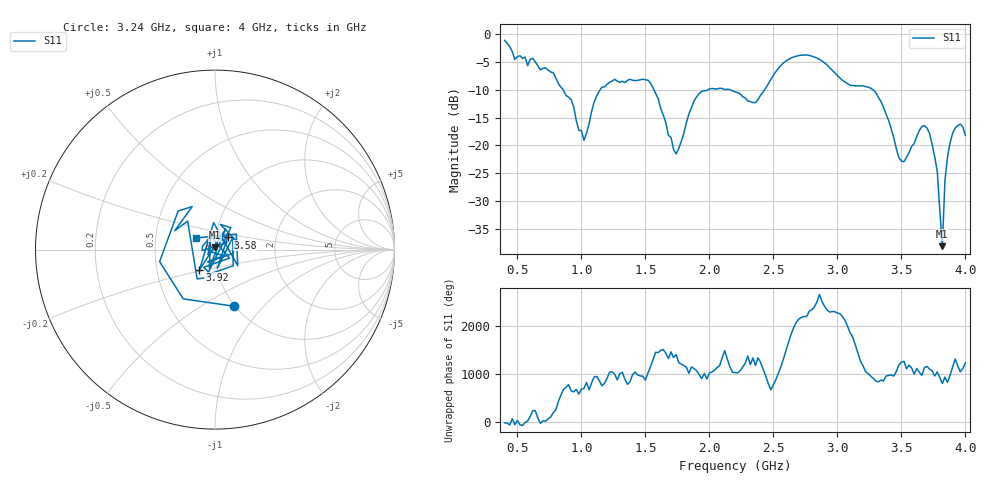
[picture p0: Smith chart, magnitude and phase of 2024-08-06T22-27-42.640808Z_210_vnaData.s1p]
!Created with skrf (http://scikit-rf.org).
# Hz S RI R 50.0
!freq ReS11 ImS11
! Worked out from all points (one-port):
!   181 points, 400 MHz to 4 GHz, reference 50 ohm
!   lowest |S11| = -38.1 dB at 3.82 GHz (marker M1), VSWR 1.03, Z = 50.1 + j1.23 ohm
!   |S11| at or under -10 dB: 857.4 MHz to 1.146 GHz (288.9 MHz wide, 28.8 % of centre); 1.567 GHz to 1.989 GHz (422.2 MHz wide, 23.7 % of centre); 3.279 GHz to end of sweep (the widest 3 of 4)
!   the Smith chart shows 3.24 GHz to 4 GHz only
!   S11 on the Smith chart (normalised r, x): 3.24 GHz: 0.99, -0.71; 3.58 GHz: 1.14, +0.16; 3.92 GHz: 0.82, -0.19; 4 GHz: 0.80, +0.11
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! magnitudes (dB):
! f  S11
! 400 MHz  -1.1
! 480 MHz  -4.5
! 860 MHz  -10.1
! 1.02 GHz  -19.1
! 1.14 GHz  -10.2
! 1.3 GHz  -8.7
! 1.52 GHz  -8.3
! 1.72 GHz  -20.7
! 1.76 GHz  -20.6
! 1.92 GHz  -10.7
! 2.2 GHz  -10.4
! 2.36 GHz  -12.3
! 2.66 GHz  -4.1
! 2.86 GHz  -4.5
! 3.1 GHz  -9.2
! 3.24 GHz  -9.5
! 3.36 GHz  -13.2
! 3.48 GHz  -22.2
! 3.56 GHz  -21.3
! 3.58 GHz  -20.2
! 3.66 GHz  -16.6
! 3.72 GHz  -17.8
! 3.78 GHz  -24.7
! 3.82 GHz  -38.1
! 3.84 GHz  -26.4
! 3.86 GHz  -22.2
! 3.92 GHz  -16.9
! 4 GHz  -18.2
